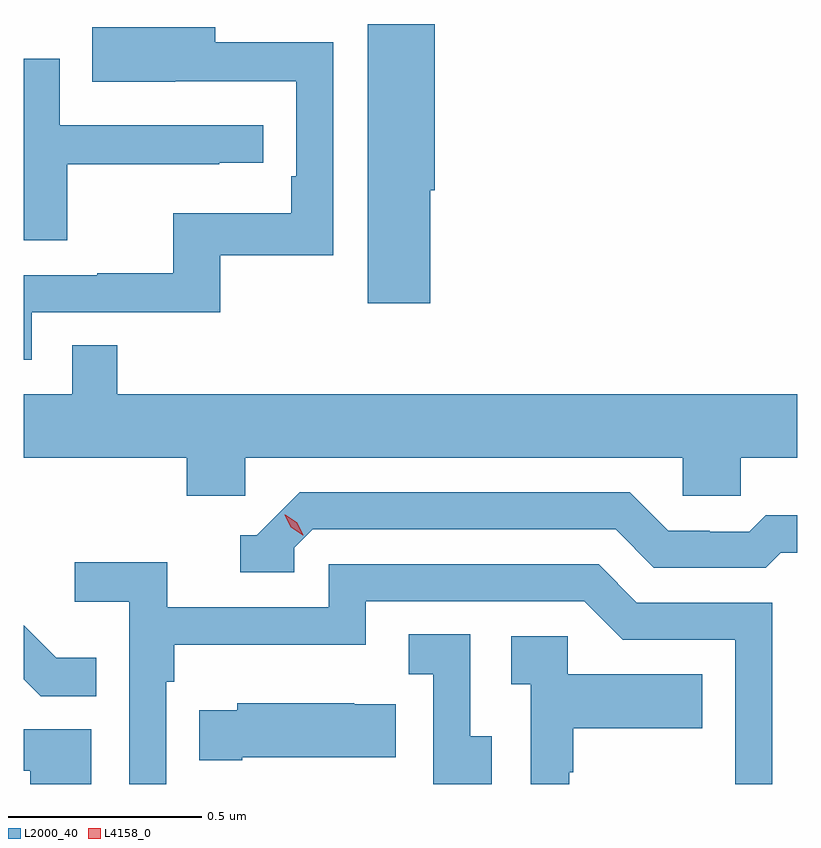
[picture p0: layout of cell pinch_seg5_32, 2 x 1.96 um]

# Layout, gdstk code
import gdstk
lib = gdstk.Library(unit=1e-6, precision=1e-09)
def P(c, l, *ps):  # polygons
    for p in ps: c.add(gdstk.Polygon(p, *l))
L2000_40 = (2000, 40)
L4158_0 = (4158, 0)

pinch_seg5_32 = lib.new_cell('pinch_seg5_32')
P(pinch_seg5_32, L2000_40, [(1107.658,914.727),(1107.67,914.727),(1107.67,915.157),(1107.497,915.157),(1107.497,914.436),(1107.658,914.436)],
  [(1106.628,914.412),(1107.115,914.412),(1107.115,914.559),(1107.408,914.559),(1107.408,915.11),(1107.103,915.11),(1107.103,915.148),(1106.785,915.148),(1106.785,915.008),(1106.999,915.008),(1106.999,915.009),(1107.312,915.009),(1107.312,914.764),(1107.299,914.764),(1107.299,914.668),(1106.994,914.668),(1106.994,914.513),(1106.797,914.513),(1106.797,914.508),(1106.607,914.508),(1106.607,914.289),(1106.628,914.289)],
  [(1106.72,914.794),(1107.113,914.794),(1107.113,914.799),(1107.226,914.799),(1107.226,914.895),(1106.7,914.895),(1106.7,915.067),(1106.607,915.067),(1106.607,914.598),(1106.72,914.598)],
  [(1107.18,914.036),(1108.311,914.036),(1108.311,913.938),(1108.461,913.938),(1108.461,914.036),(1108.607,914.036),(1108.607,914.2),(1106.849,914.2),(1106.849,914.327),(1106.733,914.327),(1106.733,914.2),(1106.607,914.2),(1106.607,914.036),(1107.029,914.036),(1107.029,913.938),(1107.18,913.938)],
  [(1107.306,913.803),(1107.354,913.851),(1108.137,913.851),(1108.236,913.752),(1108.525,913.752),(1108.564,913.791),(1108.607,913.791),(1108.607,913.888),(1108.525,913.888),(1108.483,913.845),(1108.38,913.845),(1108.38,913.848),(1108.273,913.848),(1108.174,913.947),(1107.321,913.947),(1107.21,913.836),(1107.167,913.836),(1107.167,913.74),(1107.306,913.74)],
  [(1106.976,913.457),(1106.996,913.457),(1106.996,913.553),(1107.492,913.553),(1107.492,913.665),(1108.056,913.665),(1108.155,913.566),(1108.446,913.566),(1108.446,913.193),(1108.542,913.193),(1108.542,913.662),(1108.192,913.662),(1108.093,913.761),(1107.396,913.761),(1107.396,913.65),(1106.978,913.65),(1106.978,913.766),(1106.739,913.766),(1106.739,913.664),(1106.88,913.664),(1106.88,913.193),(1106.976,913.193)],
  [(1106.795,913.519),(1106.691,913.519),(1106.607,913.603),(1106.607,913.464),(1106.651,913.42),(1106.795,913.42)],
  [(1107.817,913.317),(1107.762,913.317),(1107.762,913.58),(1107.603,913.58),(1107.603,913.477),(1107.666,913.477),(1107.666,913.193),(1107.817,913.193)],
  [(1108.017,913.223),(1108.027,913.223),(1108.027,913.337),(1108.361,913.337),(1108.361,913.477),(1108.014,913.477),(1108.014,913.575),(1107.867,913.575),(1107.867,913.451),(1107.918,913.451),(1107.918,913.193),(1108.017,913.193)],
  [(1107.172,913.262),(1107.569,913.262),(1107.569,913.399),(1107.461,913.399),(1107.461,913.402),(1107.159,913.402),(1107.159,913.384),(1107.061,913.384),(1107.061,913.255),(1107.172,913.255)],
  [(1106.782,913.335),(1106.607,913.335),(1106.607,913.227),(1106.624,913.227),(1106.624,913.193),(1106.782,913.193)])
P(pinch_seg5_32, L4158_0, [(1107.329,913.836),(1107.298,913.856),(1107.282,913.888),(1107.282,913.889),(1107.283,913.889),(1107.313,913.869),(1107.33,913.837),(1107.33,913.836)])

lib.write_gds('pinch_seg5_32.gds')
